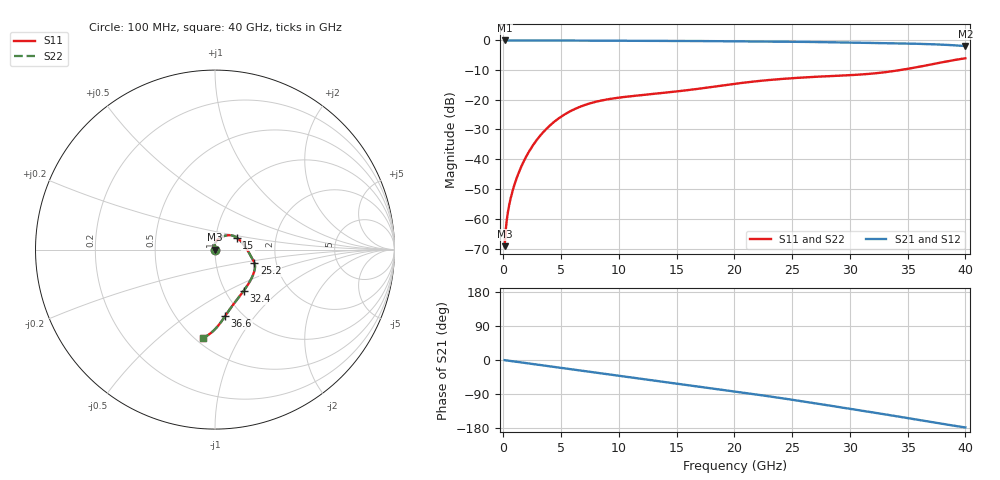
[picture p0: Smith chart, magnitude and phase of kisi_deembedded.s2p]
! A_s4_d200_ap800: kisi-fdtd, de-embedded with the 2×thru
# Hz S RI R 50
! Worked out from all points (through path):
!   400 points, 100 MHz to 40 GHz, reference 50 ohm
!   highest |S21| = -0.10 dB at 100 MHz (marker M1); lowest = -2.0 dB at 40 GHz (marker M2)
!   group delay of S21, straight-line fit = 12.2 ps
!   lowest |S11| = -69.2 dB at 100 MHz (marker M3), VSWR 1.00, Z = 50 + j0.0315 ohm
!   |S11| at or under -10 dB: start of sweep to 34.43 GHz
!   |S22| runs from -69.2 to -6.1 dB; largest |S21 - S12| = 3.2e-07
!   S11 on the Smith chart (normalised r, x): 100 MHz: 1.00, +0.00; 15 GHz: 1.26, +0.17; 25.2 GHz: 1.54, -0.24; 32.4 GHz: 1.21, -0.61; 36.6 GHz: 0.83, -0.72; 40 GHz: 0.55, -0.71
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1e8  -0.000144 0.000315  0.9883 -0.00716  0.9883 -0.00716  -0.000144 0.000315
2e8  -0.000182 0.000635  0.9882 -0.0143  0.9882 -0.0143  -0.000183 0.000635
3e8  -0.000246 0.000962  0.9881 -0.0215  0.9881 -0.0215  -0.000246 0.000962
4e8  -0.000334 0.0013  0.9879 -0.0286  0.9879 -0.0286  -0.000334 0.0013
6e8  -0.000579 0.00203  0.9874 -0.0429  0.9874 -0.0429  -0.000579 0.00203
9e8  -0.00109 0.0033  0.9862 -0.0644  0.9862 -0.0644  -0.00109 0.0033
1.2e9  -0.00172 0.00486  0.9845 -0.0858  0.9845 -0.0858  -0.00172 0.00486
2e9  -0.00339 0.0108  0.9776 -0.1427  0.9776 -0.1427  -0.00339 0.0108
3e9  -0.0034 0.0223  0.964 -0.2131  0.964 -0.2131  -0.0034 0.0223
4.1e9  0.00189 0.038  0.943 -0.2893  0.943 -0.2893  0.00189 0.038
5.4e9  0.0157 0.056  0.91 -0.3766  0.91 -0.3766  0.0157 0.056
6.8e9  0.0355 0.0698  0.8651 -0.4666  0.8651 -0.4666  0.0355 0.0698
9.2e9  0.0657 0.0791  0.768 -0.6081  0.768 -0.6081  0.0657 0.0791
1.34e10  0.1017 0.0767  0.547 -0.8063  0.547 -0.8063  0.1017 0.0767
1.5e10  0.1203 0.0669  0.4487 -0.8615  0.4487 -0.8615  0.1203 0.0669
2.01e10  0.1851 -0.0105  0.1089 -0.9506  0.1089 -0.9506  0.1851 -0.0105
2.52e10  0.219 -0.0733  -0.2573 -0.9045  -0.2573 -0.9045  0.219 -0.0733
2.67e10  0.2228 -0.0906  -0.3632 -0.8584  -0.3632 -0.8584  0.2228 -0.0906
3.24e10  0.1592 -0.2306  -0.6881 -0.5715  -0.6881 -0.5715  0.1592 -0.2306
3.34e10  0.1345 -0.2632  -0.7295 -0.5066  -0.7295 -0.5066  0.1345 -0.2632
3.66e10  0.0555 -0.3719  -0.8154 -0.2747  -0.8154 -0.2747  0.0555 -0.3719
4e10  -0.0655 -0.4916  -0.7958 -0.0275  -0.7958 -0.0275  -0.0655 -0.4916
